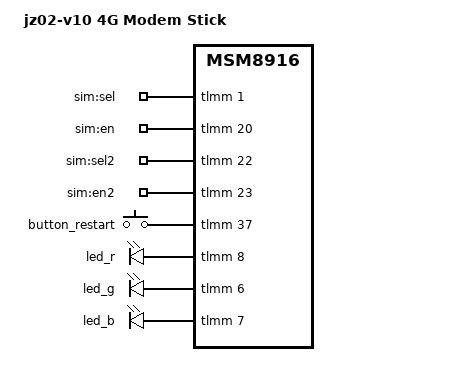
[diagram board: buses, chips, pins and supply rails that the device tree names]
// SPDX-License-Identifier: GPL-2.0-only

/dts-v1/;

#include "msm8916-ufi.dtsi"

/ {
	model = "jz02-v10 4G Modem Stick";
	compatible = "thwc,jz02v10", "qcom,msm8916";
	leds: leds {
		sim_sel {
			label = "sim:sel";
			gpios = <&tlmm 1 GPIO_ACTIVE_HIGH>;
			default-state = "on";
		};

		sim_en {
			label = "sim:en";
			gpios = <&tlmm 20 GPIO_ACTIVE_HIGH>;
			default-state = "off";
		};

		sim_sel2 {
			label = "sim:sel2";
			gpios = <&tlmm 22 GPIO_ACTIVE_HIGH>;
			default-state = "off";
		};

		sim_en2 {
			label = "sim:en2";
			gpios = <&tlmm 23 GPIO_ACTIVE_HIGH>;
			default-state = "off";
		};
	};
};

&button_restart {
	gpios = <&tlmm 37 GPIO_ACTIVE_HIGH>;
};

&led_r {
	gpios = <&tlmm 8 GPIO_ACTIVE_HIGH>;
};

&led_g {
	gpios = <&tlmm 6 GPIO_ACTIVE_HIGH>;
};

&led_b {
	gpios = <&tlmm 7 GPIO_ACTIVE_HIGH>;
};

&button_default {
	pins = "gpio37";
	bias-pull-down;
};

&gpio_leds_default {
	pins = "gpio1","gpio6","gpio7","gpio8","gpio20", "gpio22", "gpio23";
};
